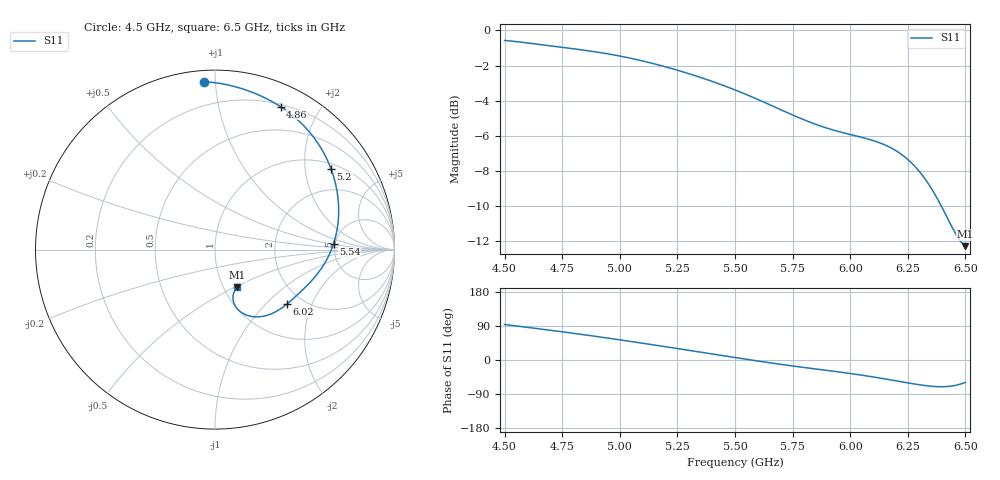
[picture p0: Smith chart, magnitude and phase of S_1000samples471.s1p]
! TOUCHSTONE file generated by CST MICROWAVE STUDIO
! Date and time: Fri Oct 28 06:55:16 2022
! Project name: L.cst
! Parameters = {Di=1.27; Epsilon_r=1.56; InnerDiameter=1.27; Length=2; Lf=10; Lg=60; OuterConductorThickness=0.2921; OuterDiameter=3.6; Wf=3; Wp=41.2; de=1.5; df=6.8; g=0.8; gx=1.35136; gy=4.93402; h=2.34; hf=1.524; px=10.9065; py=13.2795; w=9.7; wx=9.55516; wy=8.34553}
! Header version: 2018
! Port assignment regex: !\s*Touchstone port\s*([0-9]+)\s*=\s*(CST MWS port|CST DS port)\s*([0-9]+|Zmin|Zmax)\s*\(\"(.*)\"\)(\s*mode\s*([0-9]+))?.*
! Touchstone port assignment:
! Touchstone port 1 = CST MWS port 1 ("")
# GHz S DB R 50
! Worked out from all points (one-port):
!   101 points, 4.5 GHz to 6.5 GHz, reference 50 ohm
!   lowest |S11| = -12.3 dB at 6.5 GHz (marker M1), VSWR 1.64, Z = 58.1 - j25.8 ohm
!   |S11| at or under -10 dB: 6.396 GHz to end of sweep
!   S11 on the Smith chart (normalised r, x): 4.5 GHz: 0.06, +0.93; 4.86 GHz: 0.22, +1.54; 5.2 GHz: 1.16, +2.75; 5.54 GHz: 4.84, +0.56; 6.02 GHz: 1.65, -1.34; 6.5 GHz: 1.16, -0.52
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4.5  -0.57 93.8
4.62  -0.74 84.5
4.76  -0.98 73.6
4.86  -1.15 65.4
4.92  -1.27 60.2
5  -1.45 53.2
5.1  -1.74 44.1
5.2  -2.07 34.9
5.26  -2.30 29.3
5.32  -2.54 23.6
5.38  -2.80 17.9
5.44  -3.08 12.2
5.5  -3.38 6.6
5.54  -3.59 2.8
5.66  -4.28 -8.1
5.76  -4.86 -16.6
5.86  -5.38 -24.5
6  -5.92 -35.6
6.02  -5.98 -37.3
6.1  -6.26 -44.7
6.16  -6.57 -50.9
6.22  -7.02 -57.2
6.26  -7.45 -61.4
6.32  -8.36 -67.0
6.36  -9.15 -69.6
6.4  -10.10 -70.6
6.46  -11.61 -66.6
6.5  -12.27 -59.2
